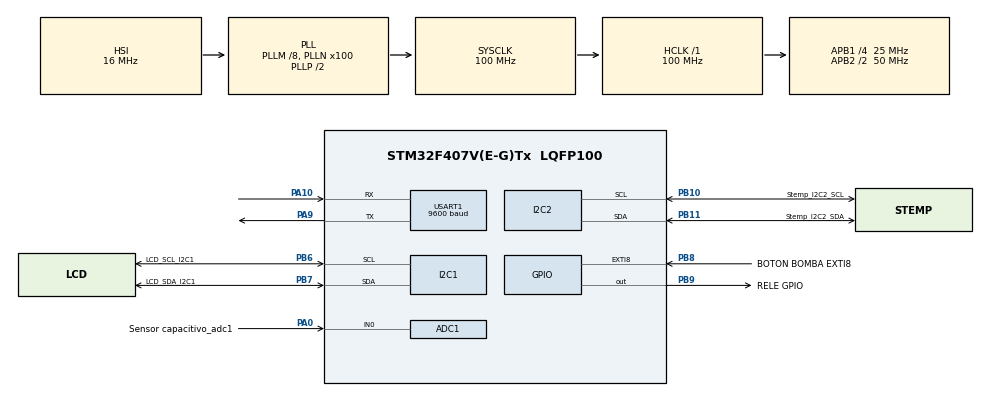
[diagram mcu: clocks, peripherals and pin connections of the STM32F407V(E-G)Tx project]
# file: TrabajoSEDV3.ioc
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ADC1.Channel-1\#ChannelRegularConversion=ADC_CHANNEL_0
ADC1.ContinuousConvMode=ENABLE
ADC1.NbrOfConversionFlag=1
ADC1.Rank-1\#ChannelRegularConversion=1
ADC1.SamplingTime-1\#ChannelRegularConversion=ADC_SAMPLETIME_3CYCLES
ADC1.master=1
Mcu.Family=STM32F4
Mcu.Name=STM32F407V(E-G)Tx
Mcu.Package=LQFP100
NVIC.EXTI9_5_IRQn=true\:0\:0\:false\:false\:true\:true\:true\:true
NVIC.PriorityGroup=NVIC_PRIORITYGROUP_0
NVIC.USART1_IRQn=true\:0\:0\:false\:false\:true\:true\:true\:true
PA0-WKUP.GPIO_Label=Sensor capacitivo_adc1
PA0-WKUP.Signal=ADCx_IN0
PA10.Mode=Asynchronous
PA10.Signal=USART1_RX
PA13.Mode=Serial_Wire
PA13.Signal=SYS_JTMS-SWDIO
PA14.Mode=Serial_Wire
PA14.Signal=SYS_JTCK-SWCLK
PA9.Mode=Asynchronous
PA9.Signal=USART1_TX
PB10.GPIO_Label=Stemp_I2C2_SCL
PB10.Mode=I2C
PB10.Signal=I2C2_SCL
PB11.GPIO_Label=Stemp_I2C2_SDA
PB11.Mode=I2C
PB11.Signal=I2C2_SDA
PB6.GPIO_Label=LCD_SCL_I2C1
PB6.Mode=I2C
PB6.Signal=I2C1_SCL
PB7.GPIO_Label=LCD_SDA_I2C1
PB7.Mode=I2C
PB7.Signal=I2C1_SDA
PB8.GPIO_Label=BOTON BOMBA EXTI8
PB8.GPIO_ModeDefaultEXTI=GPIO_MODE_IT_FALLING
PB8.GPIO_PuPd=GPIO_PULLUP
PB8.Signal=GPXTI8
PB9.GPIO_Label=RELE GPIO
PB9.Signal=GPIO_Output
ProjectManager.HeapSize=0x200
ProjectManager.StackSize=0x400
ProjectManager.TargetToolchain=STM32CubeIDE
RCC.48MHZClocksFreq_Value=28571428.57142857
RCC.AHBFreq_Value=100000000
RCC.APB1CLKDivider=RCC_HCLK_DIV4
RCC.APB1Freq_Value=25000000
RCC.APB1TimFreq_Value=50000000
RCC.APB2CLKDivider=RCC_HCLK_DIV2
RCC.APB2Freq_Value=50000000
RCC.APB2TimFreq_Value=100000000
RCC.CortexFreq_Value=100000000
RCC.HCLKFreq_Value=100000000
RCC.HSE_VALUE=8000000
RCC.HSI_VALUE=16000000
RCC.LSE_VALUE=32768
RCC.PLLM=8
RCC.PLLN=100
RCC.PLLQ=7
RCC.SYSCLKFreq_VALUE=100000000
RCC.SYSCLKSource=RCC_SYSCLKSOURCE_PLLCLK
RCC.VCOOutputFreq_Value=200000000
SH.ADCx_IN0.0=ADC1_IN0,IN0
USART1.BaudRate=9600
USART1.VirtualMode=VM_ASYNC
board=STM32F407G-DISC1

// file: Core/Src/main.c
/* USER CODE BEGIN Header */
/**
  ******************************************************************************
  * @file           : main.c
  * @brief          : Main program body
  ******************************************************************************
  * @attention
  *
  * Copyright (c) 2025 STMicroelectronics.
  * All rights reserved.
  *
  * This software is licensed under terms that can be found in the LICENSE file
  * in the root directory of this software component.
  * If no LICENSE file comes with this software, it is provided AS-IS.
  *
  ******************************************************************************
  */
/* USER CODE END Header */
#include "main.h"

/* USER CODE BEGIN Includes */
#include "bmp280.h"
#include "liquidcrystal_i2c.h"
#include <stdio.h>
#include <string.h>
/* USER CODE END Includes */

ADC_HandleTypeDef hadc1;

I2C_HandleTypeDef hi2c1;
I2C_HandleTypeDef hi2c2;

UART_HandleTypeDef huart1;

/* USER CODE BEGIN PV */
uint8_t button_state = 0; //Estado del botón
uint8_t pump_state = 0; //Estado de la bomba
uint32_t soil_humidity = 0; //Valor leído del sensor
uint32_t humidity_threshold = 2000; //Umbral de humedad

BMP280_HandleTypedef bmp280;
float pressure, temperature;
float humidity=0; //No usamos la humedad en nuestro sensor ambiental
uint16_t size_bmp;
uint8_t data_bmp[256];

uint32_t last_lcd_update = 0;
uint32_t last_bmp_update = 0;

/* USER CODE END PV */

void SystemClock_Config(void);
static void MX_GPIO_Init(void);
static void MX_ADC1_Init(void);
static void MX_I2C1_Init(void);
static void MX_I2C2_Init(void);
static void MX_USART1_UART_Init(void);

/* USER CODE BEGIN 0 */
void HAL_GPIO_EXTI_Callback(uint16_t GPIO_Pin) {
	  uint32_t last_interrupt_time = 0;
	  uint32_t current_time = HAL_GetTick();

	    if (GPIO_Pin == GPIO_PIN_8 && (current_time - last_interrupt_time > 10)) {
	        button_state = !button_state;  // Alterna el estado
	        pump_state = button_state;    // Actualiza la bomba
	        //HAL_GPIO_TogglePin(GPIOD, GPIO_PIN_12); // Alterna un LED de prueba
	        last_interrupt_time = current_time;
	    }

}

void check_humidity_and_control_pump() {
    // Leer el valor del ADC
    HAL_ADC_Start(&hadc1);
    if (HAL_ADC_PollForConversion(&hadc1, HAL_MAX_DELAY) == HAL_OK) {
        soil_humidity = HAL_ADC_GetValue(&hadc1);
    }
    HAL_ADC_Stop(&hadc1);

    // Comparar con el umbral y actualizar el estado de la bomba
    if (soil_humidity > humidity_threshold || button_state == 1) { // Si la humedad es baja
        pump_state = 1; // Activar la bomba
    } else if (!button_state) { // Si el botón no está activo
        pump_state = 0; // Desactivar la bomba
    }

    // Controlar el relé según el estado de la bomba
    if (pump_state) {
        HAL_GPIO_WritePin(GPIOB, GPIO_PIN_9, GPIO_PIN_RESET); // Activar relé (lógica inversa)
    } else {
        HAL_GPIO_WritePin(GPIOB, GPIO_PIN_9, GPIO_PIN_SET); // Desactivar relé
    }
}

void update_lcd() {
    char line1[16]; // Línea 1 del LCD
    char line2[16]; // Línea 2 del LCD
    uint32_t humidity_percent = 138.6228 - 0.0322 * soil_humidity; // Conversión del valor del sensor a porcentaje

    // Mostrar estado de la bomba
    if (pump_state) {
        snprintf(line1, sizeof(line1), "B: ON Temp:%.1fC", temperature);
    } else {
        snprintf(line1, sizeof(line1), "B:OFF Temp:%.1fC", temperature);
    }

    // Mostrar valor del sensor de humedad y presión
    snprintf(line2, sizeof(line2), "H:%lu%% P:%.1f", humidity_percent, pressure / 100);

    // Actualizar el LCD
    HD44780_Clear(); // Limpia el LCD
    HD44780_SetCursor(0, 0); // Línea 1
    HD44780_PrintStr(line1);
    HD44780_SetCursor(0, 1); // Línea 2
    HD44780_PrintStr(line2);
}

void init_bmp280() {
	bmp280_init_default_params(&bmp280.params);
		bmp280.addr = BMP280_I2C_ADDRESS_0;
		bmp280.i2c = &hi2c2;

		while (!bmp280_init(&bmp280, &bmp280.params)) {
			size_bmp = sprintf((char *)data_bmp, "BMP280 initialization failed\n");
			HAL_Delay(500);
		}

		size_bmp = sprintf((char *)data_bmp, "BMP280 found \n");
}

void read_bmp280 () {
	HAL_Delay(100);
	while (!bmp280_read_float(&bmp280,&temperature,&pressure,&humidity)) {
		size_bmp = sprintf((char *)data_bmp,"Temperature/pressure reading failed\n");
		HAL_Delay(500);
		}

	size_bmp = sprintf((char *)data_bmp,"Pressure: %.2f Pa, Temperature: %.2f C",pressure, temperature);
	HAL_Delay(250);
}

void send_bluetooth_message(char *message) {
    HAL_UART_Transmit(&huart1, (uint8_t *)message, strlen(message), HAL_MAX_DELAY);
    HAL_Delay(500); // Espera para recibir respuesta
}

void send_sensor_data() {
    char buffer[128];
    float humidity_percent = 138.6228 - 0.0322 * soil_humidity; // Conversión del valor del sensor a porcentaje

    // Formatear los datos correctamente
    snprintf(buffer, sizeof(buffer),"Temp: %.2f C\nHumedad: %.1f%%\n Presion: %.2f hPa\n", temperature, humidity_percent, pressure / 100);

    // Enviar la cadena por Bluetooth
    send_bluetooth_message(buffer);
}

/* USER CODE END 0 */

int main(void)
{

  /* USER CODE BEGIN 1 */
	uint32_t last_bluetooth_update = 0;
  /* USER CODE END 1 */

  /* MCU Configuration--------------------------------------------------------*/

  /* Reset of all peripherals, Initializes the Flash interface and the Systick. */
  HAL_Init();

  /* Configure the system clock */
  SystemClock_Config();

  /* Initialize all configured peripherals */
  MX_GPIO_Init();
  MX_ADC1_Init();
  MX_I2C1_Init();
  MX_I2C2_Init();
  MX_USART1_UART_Init();
  /* USER CODE BEGIN 2 */
  init_bmp280();

  HD44780_Init(2); // Inicializa el LCD con 2 líneas
  HD44780_Clear(); // Limpia el LCD
  HD44780_SetCursor(0, 0);   // Coloca el cursor en la primera línea
  HD44780_PrintStr("Sistema Iniciado"); // Mensaje inicial
  HAL_Delay(2000); // Pausa para que el mensaje sea visible
  HD44780_Clear(); // Limpia el LCD después del mensaje inicial

  /* USER CODE END 2 */

  /* Infinite loop */
  while (1)
  {

    /* USER CODE BEGIN 3 */
	  // Leer datos del BMP280 cada 1 segundo
	  if (HAL_GetTick() - last_bluetooth_update >= 1000) {
		  //send_bluetooth_message("Hola\n");

		  send_sensor_data(); // Enviar datos por Bluetooth
		  last_bluetooth_update = HAL_GetTick();
	  }

	  read_bmp280();
	  check_humidity_and_control_pump();
	  update_lcd();
	  HAL_Delay(250);
  }
  /* USER CODE END 3 */
}

void SystemClock_Config(void)
{
  RCC_OscInitTypeDef RCC_OscInitStruct = {0};
  RCC_ClkInitTypeDef RCC_ClkInitStruct = {0};

  /** Configure the main internal regulator output voltage
  */
  __HAL_RCC_PWR_CLK_ENABLE();
  __HAL_PWR_VOLTAGESCALING_CONFIG(PWR_REGULATOR_VOLTAGE_SCALE1);

  /** Initializes the RCC Oscillators according to the specified parameters
  * in the RCC_OscInitTypeDef structure.
  */
  RCC_OscInitStruct.OscillatorType = RCC_OSCILLATORTYPE_HSI;
  RCC_OscInitStruct.HSIState = RCC_HSI_ON;
  RCC_OscInitStruct.HSICalibrationValue = RCC_HSICALIBRATION_DEFAULT;
  RCC_OscInitStruct.PLL.PLLState = RCC_PLL_ON;
  RCC_OscInitStruct.PLL.PLLSource = RCC_PLLSOURCE_HSI;
  RCC_OscInitStruct.PLL.PLLM = 8;
  RCC_OscInitStruct.PLL.PLLN = 100;
  RCC_OscInitStruct.PLL.PLLP = RCC_PLLP_DIV2;
  RCC_OscInitStruct.PLL.PLLQ = 7;
  if (HAL_RCC_OscConfig(&RCC_OscInitStruct) != HAL_OK)
  {
    Error_Handler();
  }

  /** Initializes the CPU, AHB and APB buses clocks
  */
  RCC_ClkInitStruct.ClockType = RCC_CLOCKTYPE_HCLK|RCC_CLOCKTYPE_SYSCLK
                              |RCC_CLOCKTYPE_PCLK1|RCC_CLOCKTYPE_PCLK2;
  RCC_ClkInitStruct.SYSCLKSource = RCC_SYSCLKSOURCE_PLLCLK;
  RCC_ClkInitStruct.AHBCLKDivider = RCC_SYSCLK_DIV1;
  RCC_ClkInitStruct.APB1CLKDivider = RCC_HCLK_DIV4;
  RCC_ClkInitStruct.APB2CLKDivider = RCC_HCLK_DIV2;

  if (HAL_RCC_ClockConfig(&RCC_ClkInitStruct, FLASH_LATENCY_3) != HAL_OK)
  {
    Error_Handler();
  }
}

static void MX_ADC1_Init(void)
{

  ADC_ChannelConfTypeDef sConfig = {0};

  /** Configure the global features of the ADC (Clock, Resolution, Data Alignment and number of conversion)
  */
  hadc1.Instance = ADC1;
  hadc1.Init.ClockPrescaler = ADC_CLOCK_SYNC_PCLK_DIV2;
  hadc1.Init.Resolution = ADC_RESOLUTION_12B;
  hadc1.Init.ScanConvMode = DISABLE;
  hadc1.Init.ContinuousConvMode = ENABLE;
  hadc1.Init.DiscontinuousConvMode = DISABLE;
  hadc1.Init.ExternalTrigConvEdge = ADC_EXTERNALTRIGCONVEDGE_NONE;
  hadc1.Init.ExternalTrigConv = ADC_SOFTWARE_START;
  hadc1.Init.DataAlign = ADC_DATAALIGN_RIGHT;
  hadc1.Init.NbrOfConversion = 1;
  hadc1.Init.DMAContinuousRequests = DISABLE;
  hadc1.Init.EOCSelection = ADC_EOC_SINGLE_CONV;
  if (HAL_ADC_Init(&hadc1) != HAL_OK)
  {
    Error_Handler();
  }

  /** Configure for the selected ADC regular channel its corresponding rank in the sequencer and its sample time.
  */
  sConfig.Channel = ADC_CHANNEL_0;
  sConfig.Rank = 1;
  sConfig.SamplingTime = ADC_SAMPLETIME_3CYCLES;
  if (HAL_ADC_ConfigChannel(&hadc1, &sConfig) != HAL_OK)
  {
    Error_Handler();
  }

}

static void MX_I2C1_Init(void)
{

  hi2c1.Instance = I2C1;
  hi2c1.Init.ClockSpeed = 100000;
  hi2c1.Init.DutyCycle = I2C_DUTYCYCLE_2;
  hi2c1.Init.OwnAddress1 = 0;
  hi2c1.Init.AddressingMode = I2C_ADDRESSINGMODE_7BIT;
  hi2c1.Init.DualAddressMode = I2C_DUALADDRESS_DISABLE;
  hi2c1.Init.OwnAddress2 = 0;
  hi2c1.Init.GeneralCallMode = I2C_GENERALCALL_DISABLE;
  hi2c1.Init.NoStretchMode = I2C_NOSTRETCH_DISABLE;
  if (HAL_I2C_Init(&hi2c1) != HAL_OK)
  {
    Error_Handler();
  }

}

static void MX_I2C2_Init(void)
{

  hi2c2.Instance = I2C2;
  hi2c2.Init.ClockSpeed = 100000;
  hi2c2.Init.DutyCycle = I2C_DUTYCYCLE_2;
  hi2c2.Init.OwnAddress1 = 0;
  hi2c2.Init.AddressingMode = I2C_ADDRESSINGMODE_7BIT;
  hi2c2.Init.DualAddressMode = I2C_DUALADDRESS_DISABLE;
  hi2c2.Init.OwnAddress2 = 0;
  hi2c2.Init.GeneralCallMode = I2C_GENERALCALL_DISABLE;
  hi2c2.Init.NoStretchMode = I2C_NOSTRETCH_DISABLE;
  if (HAL_I2C_Init(&hi2c2) != HAL_OK)
  {
    Error_Handler();
  }

}

static void MX_USART1_UART_Init(void)
{

  huart1.Instance = USART1;
  huart1.Init.BaudRate = 9600;
  huart1.Init.WordLength = UART_WORDLENGTH_8B;
  huart1.Init.StopBits = UART_STOPBITS_1;
  huart1.Init.Parity = UART_PARITY_NONE;
  huart1.Init.Mode = UART_MODE_TX_RX;
  huart1.Init.HwFlowCtl = UART_HWCONTROL_NONE;
  huart1.Init.OverSampling = UART_OVERSAMPLING_16;
  if (HAL_UART_Init(&huart1) != HAL_OK)
  {
    Error_Handler();
  }

}

static void MX_GPIO_Init(void)
{
  GPIO_InitTypeDef GPIO_InitStruct = {0};

  /* GPIO Ports Clock Enable */
  __HAL_RCC_GPIOA_CLK_ENABLE();
  __HAL_RCC_GPIOB_CLK_ENABLE();

  /*Configure GPIO pin Output Level */
  HAL_GPIO_WritePin(RELE_GPIO_GPIO_Port, RELE_GPIO_Pin, GPIO_PIN_RESET);

  /*Configure GPIO pin : BOTON_BOMBA_EXTI8_Pin */
  GPIO_InitStruct.Pin = BOTON_BOMBA_EXTI8_Pin;
  GPIO_InitStruct.Mode = GPIO_MODE_IT_FALLING;
  GPIO_InitStruct.Pull = GPIO_PULLUP;
  HAL_GPIO_Init(BOTON_BOMBA_EXTI8_GPIO_Port, &GPIO_InitStruct);

  /*Configure GPIO pin : RELE_GPIO_Pin */
  GPIO_InitStruct.Pin = RELE_GPIO_Pin;
  GPIO_InitStruct.Mode = GPIO_MODE_OUTPUT_PP;
  GPIO_InitStruct.Pull = GPIO_NOPULL;
  GPIO_InitStruct.Speed = GPIO_SPEED_FREQ_LOW;
  HAL_GPIO_Init(RELE_GPIO_GPIO_Port, &GPIO_InitStruct);

  /* EXTI interrupt init*/
  HAL_NVIC_SetPriority(EXTI9_5_IRQn, 0, 0);
  HAL_NVIC_EnableIRQ(EXTI9_5_IRQn);

}

void Error_Handler(void)
{
  __disable_irq();
  while (1)
  {
  }
}
